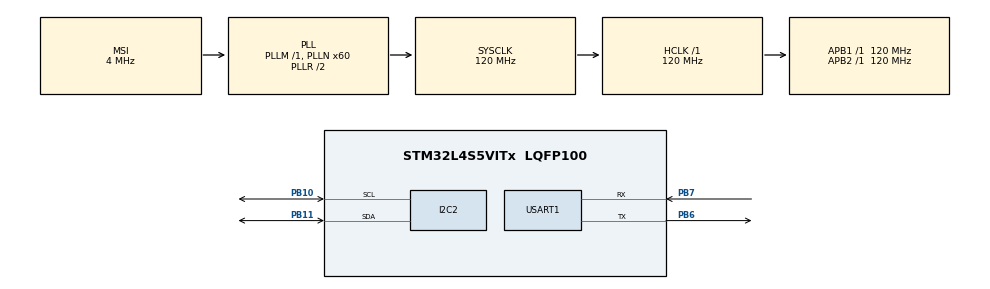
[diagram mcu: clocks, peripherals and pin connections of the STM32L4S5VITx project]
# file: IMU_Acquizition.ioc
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I2C2.Timing=0x30A175AB
Mcu.Family=STM32L4
Mcu.Name=STM32L4S5VITx
Mcu.Package=LQFP100
NVIC.PriorityGroup=NVIC_PRIORITYGROUP_4
PB10.Mode=I2C
PB10.Signal=I2C2_SCL
PB11.Mode=I2C
PB11.Signal=I2C2_SDA
PB6.Mode=Asynchronous
PB6.Signal=USART1_TX
PB7.Mode=Asynchronous
PB7.Signal=USART1_RX
ProjectManager.HeapSize=0x200
ProjectManager.StackSize=0x400
ProjectManager.TargetToolchain=STM32CubeIDE
RCC.ADCFreq_Value=48000000
RCC.AHBFreq_Value=120000000
RCC.APB1Freq_Value=120000000
RCC.APB1TimFreq_Value=120000000
RCC.APB2Freq_Value=120000000
RCC.APB2TimFreq_Value=120000000
RCC.CortexFreq_Value=120000000
RCC.HCLKFreq_Value=120000000
RCC.HSE_VALUE=8000000
RCC.HSI48_VALUE=48000000
RCC.HSI_VALUE=16000000
RCC.MSI_VALUE=4000000
RCC.PLLN=60
RCC.PLLSAI1N=24
RCC.SYSCLKFreq_VALUE=120000000
RCC.SYSCLKSource=RCC_SYSCLKSOURCE_PLLCLK
RCC.USBFreq_Value=48000000
RCC.VCOOutputFreq_Value=240000000
USART1.VirtualMode-Asynchronous=VM_ASYNC
board=B-L4S5I-IOT01A

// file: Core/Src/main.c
/* USER CODE BEGIN Header */
/**
  ******************************************************************************
  * @file           : main.c
  * @brief          : Main program body
  ******************************************************************************
  * @attention
  *
  * Copyright (c) 2026 STMicroelectronics.
  * All rights reserved.
  *
  * This software is licensed under terms that can be found in the LICENSE file
  * in the root directory of this software component.
  * If no LICENSE file comes with this software, it is provided AS-IS.
  *
  ******************************************************************************
  */
/* USER CODE END Header */
#include "main.h"

/* USER CODE BEGIN Includes */
#include "imu.h"
#include "string.h"
#include "stdio.h"
/* USER CODE END Includes */

I2C_HandleTypeDef hi2c2;

UART_HandleTypeDef huart1;

void SystemClock_Config(void);
static void MX_GPIO_Init(void);
static void MX_I2C2_Init(void);
static void MX_USART1_UART_Init(void);

int main(void)
{

  /* MCU Configuration--------------------------------------------------------*/

  /* Reset of all peripherals, Initializes the Flash interface and the Systick. */
  HAL_Init();

  /* Configure the system clock */
  SystemClock_Config();

  /* Initialize all configured peripherals */
  MX_GPIO_Init();
  MX_I2C2_Init();
  MX_USART1_UART_Init();
  /* USER CODE BEGIN 2 */
  IMU_Init();
  float ax, ay, az;
  float gx, gy, gz;
  /* USER CODE END 2 */

  /* Infinite loop */
  while (1)
  {

    /* USER CODE BEGIN 3 */

	  IMU_Read_Accel(&ax, &ay, &az);
	  IMU_Read_Gyro(&gx, &gy, &gz);
	  printf("%.3f,%.3f,%.3f,%.3f,%.3f,%.3f\r\n",
	  	       ax,
	  	       ay,
	  	       az,
	  	       gx,
	  	       gy,
	  	       gz);
	  	HAL_Delay(20);
  }
  /* USER CODE END 3 */
}

void SystemClock_Config(void)
{
  RCC_OscInitTypeDef RCC_OscInitStruct = {0};
  RCC_ClkInitTypeDef RCC_ClkInitStruct = {0};

  /** Configure the main internal regulator output voltage
  */
  if (HAL_PWREx_ControlVoltageScaling(PWR_REGULATOR_VOLTAGE_SCALE1_BOOST) != HAL_OK)
  {
    Error_Handler();
  }

  /** Initializes the RCC Oscillators according to the specified parameters
  * in the RCC_OscInitTypeDef structure.
  */
  RCC_OscInitStruct.OscillatorType = RCC_OSCILLATORTYPE_MSI;
  RCC_OscInitStruct.MSIState = RCC_MSI_ON;
  RCC_OscInitStruct.MSICalibrationValue = 0;
  RCC_OscInitStruct.MSIClockRange = RCC_MSIRANGE_6;
  RCC_OscInitStruct.PLL.PLLState = RCC_PLL_ON;
  RCC_OscInitStruct.PLL.PLLSource = RCC_PLLSOURCE_MSI;
  RCC_OscInitStruct.PLL.PLLM = 1;
  RCC_OscInitStruct.PLL.PLLN = 60;
  RCC_OscInitStruct.PLL.PLLP = RCC_PLLP_DIV2;
  RCC_OscInitStruct.PLL.PLLQ = RCC_PLLQ_DIV2;
  RCC_OscInitStruct.PLL.PLLR = RCC_PLLR_DIV2;
  if (HAL_RCC_OscConfig(&RCC_OscInitStruct) != HAL_OK)
  {
    Error_Handler();
  }

  /** Initializes the CPU, AHB and APB buses clocks
  */
  RCC_ClkInitStruct.ClockType = RCC_CLOCKTYPE_HCLK|RCC_CLOCKTYPE_SYSCLK
                              |RCC_CLOCKTYPE_PCLK1|RCC_CLOCKTYPE_PCLK2;
  RCC_ClkInitStruct.SYSCLKSource = RCC_SYSCLKSOURCE_PLLCLK;
  RCC_ClkInitStruct.AHBCLKDivider = RCC_SYSCLK_DIV1;
  RCC_ClkInitStruct.APB1CLKDivider = RCC_HCLK_DIV1;
  RCC_ClkInitStruct.APB2CLKDivider = RCC_HCLK_DIV1;

  if (HAL_RCC_ClockConfig(&RCC_ClkInitStruct, FLASH_LATENCY_5) != HAL_OK)
  {
    Error_Handler();
  }
}

static void MX_I2C2_Init(void)
{

  hi2c2.Instance = I2C2;
  hi2c2.Init.Timing = 0x30A175AB;
  hi2c2.Init.OwnAddress1 = 0;
  hi2c2.Init.AddressingMode = I2C_ADDRESSINGMODE_7BIT;
  hi2c2.Init.DualAddressMode = I2C_DUALADDRESS_DISABLE;
  hi2c2.Init.OwnAddress2 = 0;
  hi2c2.Init.OwnAddress2Masks = I2C_OA2_NOMASK;
  hi2c2.Init.GeneralCallMode = I2C_GENERALCALL_DISABLE;
  hi2c2.Init.NoStretchMode = I2C_NOSTRETCH_DISABLE;
  if (HAL_I2C_Init(&hi2c2) != HAL_OK)
  {
    Error_Handler();
  }

  /** Configure Analogue filter
  */
  if (HAL_I2CEx_ConfigAnalogFilter(&hi2c2, I2C_ANALOGFILTER_ENABLE) != HAL_OK)
  {
    Error_Handler();
  }

  /** Configure Digital filter
  */
  if (HAL_I2CEx_ConfigDigitalFilter(&hi2c2, 0) != HAL_OK)
  {
    Error_Handler();
  }

}

static void MX_USART1_UART_Init(void)
{

  huart1.Instance = USART1;
  huart1.Init.BaudRate = 115200;
  huart1.Init.WordLength = UART_WORDLENGTH_8B;
  huart1.Init.StopBits = UART_STOPBITS_1;
  huart1.Init.Parity = UART_PARITY_NONE;
  huart1.Init.Mode = UART_MODE_TX_RX;
  huart1.Init.HwFlowCtl = UART_HWCONTROL_NONE;
  huart1.Init.OverSampling = UART_OVERSAMPLING_16;
  huart1.Init.OneBitSampling = UART_ONE_BIT_SAMPLE_DISABLE;
  huart1.Init.ClockPrescaler = UART_PRESCALER_DIV1;
  huart1.AdvancedInit.AdvFeatureInit = UART_ADVFEATURE_NO_INIT;
  if (HAL_UART_Init(&huart1) != HAL_OK)
  {
    Error_Handler();
  }
  if (HAL_UARTEx_SetTxFifoThreshold(&huart1, UART_TXFIFO_THRESHOLD_1_8) != HAL_OK)
  {
    Error_Handler();
  }
  if (HAL_UARTEx_SetRxFifoThreshold(&huart1, UART_RXFIFO_THRESHOLD_1_8) != HAL_OK)
  {
    Error_Handler();
  }
  if (HAL_UARTEx_DisableFifoMode(&huart1) != HAL_OK)
  {
    Error_Handler();
  }

}

static void MX_GPIO_Init(void)
{

  /* GPIO Ports Clock Enable */
  __HAL_RCC_GPIOB_CLK_ENABLE();

}

/* USER CODE BEGIN 4 */
int _write(int file, char *ptr, int len)
{
	HAL_UART_Transmit(&huart1,(uint8_t *)ptr,len,HAL_MAX_DELAY);
}
/* USER CODE END 4 */

void Error_Handler(void)
{
  __disable_irq();
  while (1)
  {
  }
}
